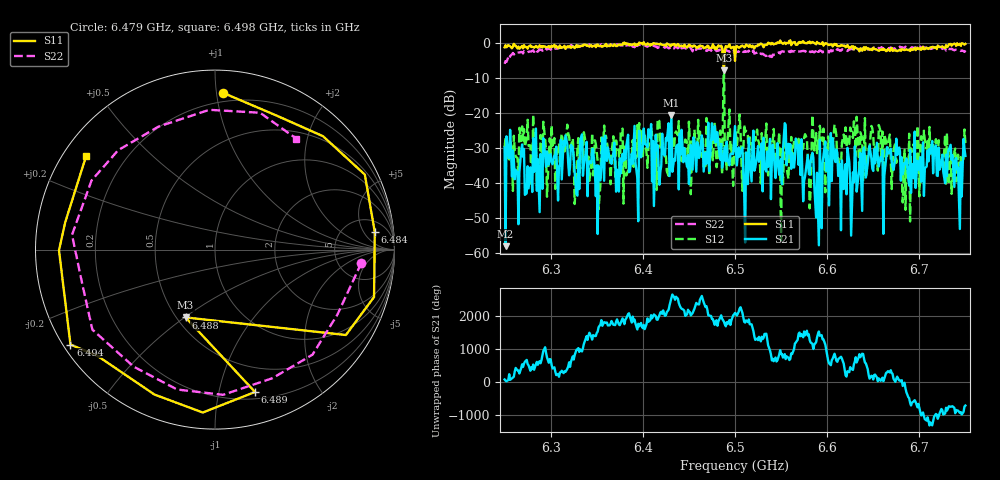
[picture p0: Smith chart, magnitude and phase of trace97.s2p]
# Hz S RI R 50
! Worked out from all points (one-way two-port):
!   401 points, 6.25 GHz to 6.75 GHz, reference 50 ohm
!   highest |S21| = -20.49 dB at 6.431 GHz (marker M1); lowest = -57.9 dB at 6.251 GHz (marker M2)
!   lowest |S11| = -7.7 dB at 6.488 GHz (marker M3), VSWR 2.40, Z = 27.7 - j25.2 ohm
!   |S11| at or under -10 dB: nowhere
!   |S22| runs from -5.9 to -0.2 dB; largest |S21 - S12| = 0.78
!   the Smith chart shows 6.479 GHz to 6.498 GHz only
!   S11 on the Smith chart (normalised r, x): 6.479 GHz: 0.14, +1.04; 6.484 GHz: 9, +9; 6.488 GHz: 0.55, -0.50; 6.489 GHz: 0.26, -1.29; 6.494 GHz: 0.02, -0.30; 6.498 GHz: 0.07, +0.32
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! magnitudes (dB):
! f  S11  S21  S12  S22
! 6.25 GHz  -1.2  -29.8  -29.6  -5.9
! 6.251 GHz  -0.5  -57.9  -27.0  -5.1
! 6.334 GHz  -0.7  -26.0  -27.5  -0.7
! 6.418 GHz  -0.4  -40.4  -22.3  -1.0
! 6.431 GHz  -0.4  -20.5  -36.7  -1.0
! 6.479 GHz  -1.2  -28.4  -26.3  -1.7
! 6.484 GHz  -1.0  -33.2  -25.0  -1.8
! 6.488 GHz  -7.7  -32.0  -2.4  -1.8
! 6.489 GHz  -1.7  -29.8  -32.2  -2.3
! 6.494 GHz  -0.3  -34.9  -18.9  -2.5
! 6.498 GHz  -1.0  -31.6  -40.7  -2.3
! 6.5 GHz  -5.0  -23.6  -30.4  -2.4
! 6.511 GHz  -1.0  -56.9  -25.3  -2.2
! 6.518 GHz  -1.1  -39.5  -28.6  -2.6
! 6.584 GHz  0.4  -31.3  -20.5  -2.3
! 6.589 GHz  0.4  -37.0  -31.4  -1.7
! 6.598 GHz  0.0  -28.0  -42.6  -2.3
! 6.626 GHz  -1.0  -54.9  -24.8  -1.6
! 6.668 GHz  -2.2  -31.4  -26.1  -1.4
! 6.734 GHz  -0.2  -29.0  -30.5  -1.7
! 6.744 GHz  -0.1  -53.0  -41.5  -2.1
! 6.75 GHz  -0.2  -32.2  -28.5  -2.0
